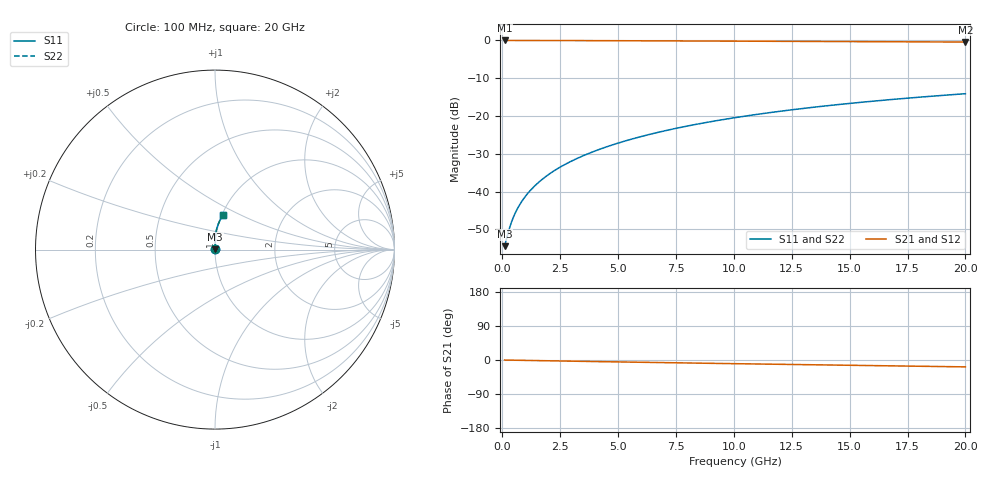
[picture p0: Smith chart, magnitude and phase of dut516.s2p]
! Touchstone file exported from HFSS 2024.1.0
!  File:  C:/UserFiles/LocalFiles/RDL_TSV_Batchsim/temp_RDL_bottom_516_1779687919.aedt
!  Generated:  01:47:49 PM May 25, 2026
!  Design:  RDL_bottom
!  Project:  temp_RDL_bottom_516_1779687919
!  Setup:  Setup1
!  Solution:  Sweep
! Variables:
!  dtsv = 10.80580581um
!  hbump = 3um
!  htsv = 73.88um
!  ldown = 215.52um
!  lrdl = 100um
!  p = 40
!  p1 = 53um
!  rhole = 1um
!  t = 450um
!  tdown = 2.36um
!  trdl = 3.915915916um
!  wdown = 25.25um
!  wrdl = 20um
# GHz S MA R 50.000000
! Terminal data exported
! Port[1] = RDL1_T1
! Port[2] = RDL1_T2
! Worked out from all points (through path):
!   200 points, 100 MHz to 20 GHz, reference 50 ohm
!   highest |S21| = -0.01 dB at 100 MHz (marker M1); lowest = -0.4 dB at 20 GHz (marker M2)
!   group delay of S21, straight-line fit = 2.49 ps
!   lowest |S11| = -54.5 dB at 100 MHz (marker M3), VSWR 1.00, Z = 50.2 + j0.0917 ohm
!   |S11| at or under -10 dB: start of sweep to end of sweep
!   |S22| runs from -54.5 to -14.1 dB; largest |S21 - S12| = 5.3e-15
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0.1  0.001892 28.9  0.9983 -0.1  0.9983 -0.1  0.001892 28.9
! Gamma 0 0 0 0
! Port Impedance 50 0 50 0
0.3  0.003206 56.8  0.9982 -0.3  0.9982 -0.3  0.003206 56.8
0.4  0.003968 62.9  0.9981 -0.4  0.9981 -0.4  0.003968 62.9
0.5  0.004741 67.0  0.998 -0.5  0.998 -0.5  0.004741 67.0
0.6  0.005518 70.0  0.9979 -0.6  0.9979 -0.6  0.005518 70.0
0.8  0.00708 74.2  0.9978 -0.9  0.9978 -0.9  0.00708 74.2
1  0.008658 77.1  0.9976 -1.1  0.9976 -1.1  0.008658 77.1
1.2  0.01025 79.3  0.9974 -1.3  0.9974 -1.3  0.01025 79.3
1.4  0.01187 80.9  0.9972 -1.5  0.9972 -1.5  0.01187 80.9
1.7  0.01432 82.8  0.9969 -1.8  0.9969 -1.8  0.01432 82.8
2.2  0.0185 85.0  0.9962 -2.3  0.9962 -2.3  0.0185 85.0
2.8  0.02364 86.7  0.9953 -2.9  0.9953 -2.9  0.02364 86.7
3.5  0.02982 88.0  0.994 -3.6  0.994 -3.6  0.02983 88.0
4.2  0.03621 88.8  0.9925 -4.3  0.9925 -4.3  0.03621 88.8
5  0.04374 89.2  0.9906 -5.1  0.9906 -5.1  0.04374 89.2
5.9  0.05248 89.4  0.9884 -6.0  0.9884 -6.0  0.05248 89.4
6.8  0.06145 89.2  0.9861 -6.8  0.9861 -6.8  0.06145 89.2
8.4  0.07782 88.4  0.9818 -8.3  0.9818 -8.3  0.07782 88.4
10.1  0.09554 87.0  0.9773 -9.8  0.9773 -9.8  0.09554 87.1
13.4  0.1301 83.9  0.9686 -12.6  0.9686 -12.6  0.1301 83.9
16.7  0.164 80.6  0.96 -15.4  0.96 -15.4  0.1641 80.6
20  0.197 77.3  0.9511 -18.1  0.9511 -18.1  0.197 77.3
